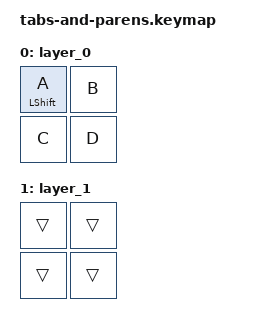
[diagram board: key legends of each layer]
/*
 * Hard .keymap corpus: tabs between bind parameters and LS( A ) in a combo.
 * Covers R2-8 (tokenize on any whitespace and parenthesis depth).
 */

#include <behaviors.dtsi>
#include <dt-bindings/zmk/keys.h>

/ {
    combos {
        compatible = "zmk,combos";
        combo_shift_a {
            bindings = <&kp LS( A )>;
            key-positions = <0 1>;
        };
    };

    keymap {
        compatible = "zmk,keymap";

        layer_0 {
            bindings = <
&mt	LSHIFT	A &kp B
&kp C &kp D
            >;
        };

        layer_1 {
            bindings = <
&trans &trans
&trans &trans
            >;
        };
    };
};
